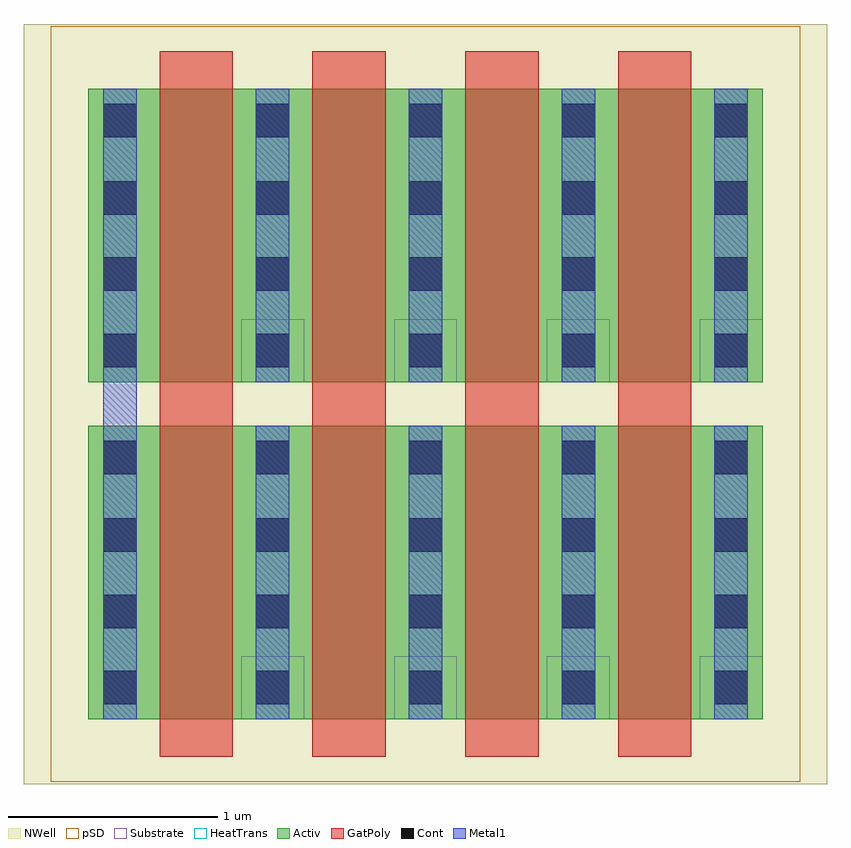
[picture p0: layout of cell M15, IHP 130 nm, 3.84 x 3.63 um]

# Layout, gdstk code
import gdstk
lib = gdstk.Library(unit=1e-6, precision=1e-09)
def R(c, l, rs):  # rectangles x0, y0, x1, y1
    for r in rs: c.add(gdstk.rectangle(r[:2], r[2:], *l))
def A(c, l, x, y, w, h, nx, ny, dx, dy):  # array of equal rectangles
    R(c, l, [(x+i*dx, y+j*dy, x+i*dx+w, y+j*dy+h) for i in range(nx) for j in range(ny)])
Activ = (1, 0)
GatPoly = (5, 0)
Cont = (6, 0)
Metal1 = (8, 0)
pSD = (14, 0)
NWell = (31, 0)
Substrate = (40, 0)
HeatTrans = (51, 0)

pmos_4 = lib.new_cell('pmos$4')
R(pmos_4, Activ, [(0,0,0.3,0.3), (0,0,1.03,1.4), (0.73,0,1.03,0.3)])
R(pmos_4, GatPoly, [(0.34,-0.18,0.69,1.58), (0.34,-0.18,0.69,1.58)])
A(pmos_4, Cont, 0.07, 0.07, 0.16, 0.16, 1, 3, 0, 0.365)
A(pmos_4, Cont, 0.8, 0.07, 0.16, 0.16, 1, 3, 0, 0.365)
R(pmos_4, Cont, [(0.07,1.17,0.23,1.33), (0.8,1.17,0.96,1.33)])
R(pmos_4, Metal1, [(0.07,0,0.23,1.4), (0.07,0,0.23,1.4), (0.8,0,0.96,1.4), (0.8,0,0.96,1.4)])
R(pmos_4, pSD, [(-0.18,-0.3,1.21,1.7)])
R(pmos_4, NWell, [(-0.31,-0.31,1.34,1.71)])
R(pmos_4, Substrate, [(0.73,0,1.03,0.3)])
R(pmos_4, HeatTrans, [(0.34,-0.18,0.69,1.58)])
pmos_4.add(gdstk.Label('pmos', (0.515,0.7), layer=63, texttype=0))
pmos_4.add(gdstk.Label('pmos', (0.515,0.7), layer=51, texttype=0))

m15 = lib.new_cell('M15')
R(m15, Metal1, [(-0.385,1.26,-0.225,1.47)])
r = gdstk.Reference(pmos_4, (-0.455,-0.14)); r.repetition = gdstk.Repetition(4, 2, v1=(0.73,0), v2=(0,1.61)); m15.add(r)

lib.write_gds('M15.gds')
